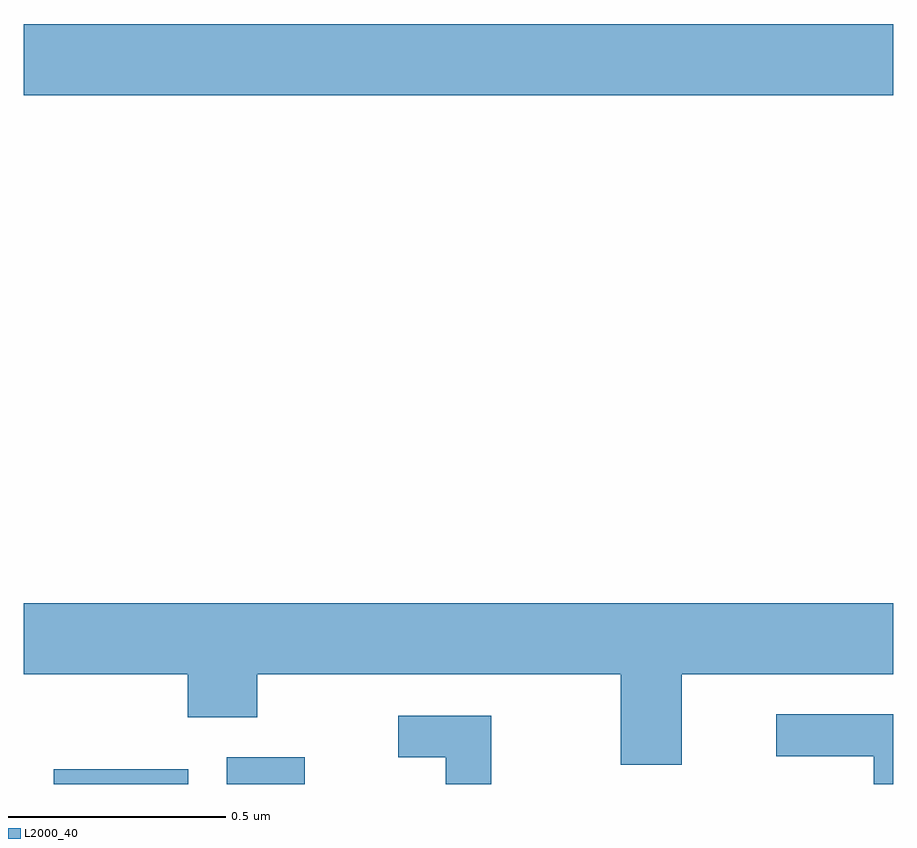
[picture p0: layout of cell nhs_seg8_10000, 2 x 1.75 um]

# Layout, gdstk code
import gdstk
lib = gdstk.Library(unit=1e-6, precision=1e-09)
def R(c, l, rs):  # rectangles x0, y0, x1, y1
    for r in rs: c.add(gdstk.rectangle(r[:2], r[2:], *l))
def P(c, l, *ps):  # polygons
    for p in ps: c.add(gdstk.Polygon(p, *l))
L2000_40 = (2000, 40)

nhs_seg8_10000 = lib.new_cell('nhs_seg8_10000')
R(nhs_seg8_10000, L2000_40, [(243.069,1130.9,243.378,1130.934), (243.467,1130.9,243.646,1130.962), (243,1132.484,245,1132.648)])
P(nhs_seg8_10000, L2000_40, [(244.513,1131.152),(245,1131.152),(245,1131.316),(243,1131.316),(243,1131.152),(243.377,1131.152),(243.377,1131.053),(243.537,1131.053),(243.537,1131.152),(244.373,1131.152),(244.373,1130.944),(244.513,1130.944)],
  [(245,1131.06),(244.731,1131.06),(244.731,1130.964),(244.955,1130.964),(244.955,1130.9),(245,1130.9)],
  [(244.075,1131.057),(243.861,1131.057),(243.861,1130.961),(243.971,1130.961),(243.971,1130.9),(244.075,1130.9)])

lib.write_gds('nhs_seg8_10000.gds')
